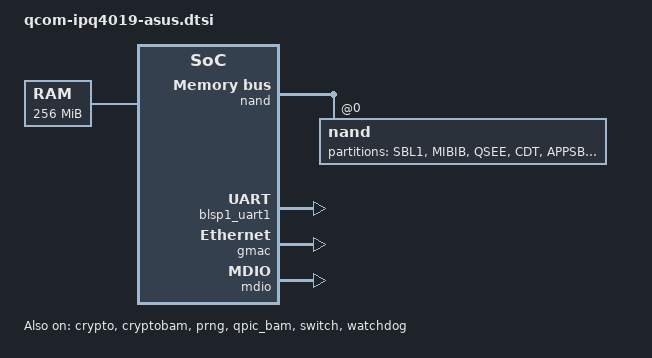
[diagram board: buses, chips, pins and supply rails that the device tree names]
// SPDX-License-Identifier: GPL-2.0-or-later OR MIT

#include <dt-bindings/input/input.h>
#include <dt-bindings/soc/qcom,tcsr.h>
#include <dt-bindings/gpio/gpio.h>

/ {
	memory {
		device_type = "memory";
		reg = <0x80000000 0x10000000>; /* 256MB */
	};
		
	soc {
		tcsr@1949000 {
			compatible = "qcom,tcsr";
			reg = <0x1949000 0x100>;
			qcom,wifi_glb_cfg = <TCSR_WIFI_GLB_CFG>;
		};

		tcsr@194b000 {
			compatible = "qcom,tcsr";
			reg = <0x194b000 0x100>;
			qcom,usb-hsphy-mode-select = <TCSR_USB_HSPHY_HOST_MODE>;
		};		

		ess_tcsr@1953000 {
			compatible = "qcom,tcsr";
			reg = <0x1953000 0x1000>;
			qcom,ess-interface-select = <TCSR_ESS_PSGMII>;
		};

		tcsr@1957000 {
			compatible = "qcom,tcsr";
			reg = <0x1957000 0x100>;
			qcom,wifi_noc_memtype_m0_m2 = <TCSR_WIFI_NOC_MEMTYPE_M0_M2>;
		};
	};
};

&nand {
	pinctrl-0 = <&nand_pins>;
	pinctrl-names = "default";
	status = "okay";

	nand@0 {
		partitions {
			compatible = "fixed-partitions";
			#address-cells = <1>;
			#size-cells = <1>;

			partition@0 {
				label = "SBL1";
				reg = <0x0 0x80000>;
				read-only;
			};

			partition@80000 {
				label = "MIBIB";
				reg = <0x80000 0x80000>;
				read-only;
			};

			partition@100000 {
				label = "QSEE";
				reg = <0x100000 0x100000>;
				read-only;
			};

			partition@200000 {
				label = "CDT";
				reg = <0x200000 0x80000>;
				read-only;
			};

			partition@280000 {
				label = "APPSBL";
				reg = <0x280000 0x140000>;
				read-only;
			};

			partition@3c0000 {
				label = "APPSBLENV";
				reg = <0x3c0000 0x40000>;
				read-only;
			};

			partition@400000 {
				label = "ubi";
				reg = <0x400000 0x7c00000>;
			};
		};
	};
};

&blsp1_uart1 {
	pinctrl-0 = <&serial_pins>;
	pinctrl-names = "default";
	status = "okay";
};

&blsp_dma {
	status = "okay";
};

&crypto {
	status = "okay";
};

&cryptobam {
	status = "okay";
};

&gmac {
	status = "okay";
};

&mdio {
	status = "okay";
};

&prng {
	status = "okay";
};

&qpic_bam {
	status = "okay";
};

&switch {
	status = "okay";
};

&watchdog {
	status = "okay";
};
